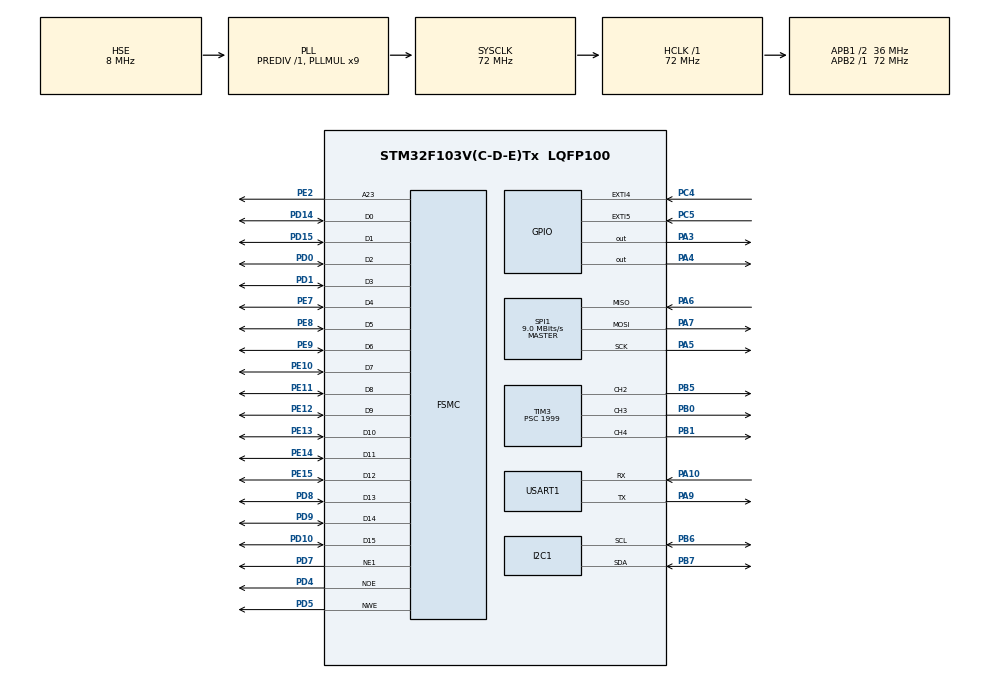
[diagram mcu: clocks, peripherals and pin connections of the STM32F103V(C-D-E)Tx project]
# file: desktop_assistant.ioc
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FSMC.DataSetupTime1=15
Mcu.Family=STM32F1
Mcu.Name=STM32F103V(C-D-E)Tx
Mcu.Package=LQFP100
NVIC.EXTI4_IRQn=true\:5\:0\:true\:false\:true\:true\:true\:true
NVIC.EXTI9_5_IRQn=true\:5\:0\:true\:false\:true\:true\:true\:true
NVIC.PriorityGroup=NVIC_PRIORITYGROUP_4
NVIC.USART1_IRQn=true\:3\:0\:true\:false\:true\:true\:true\:true
OSC_IN.Mode=HSE-External-Oscillator
OSC_IN.Signal=RCC_OSC_IN
OSC_OUT.Mode=HSE-External-Oscillator
OSC_OUT.Signal=RCC_OSC_OUT
PA10.Mode=Asynchronous
PA10.Signal=USART1_RX
PA13.Mode=Serial_Wire
PA13.Signal=SYS_JTMS-SWDIO
PA14.Mode=Serial_Wire
PA14.Signal=SYS_JTCK-SWCLK
PA3.Signal=GPIO_Output
PA4.Signal=GPIO_Output
PA5.Mode=Full_Duplex_Master
PA5.Signal=SPI1_SCK
PA6.Mode=Full_Duplex_Master
PA6.Signal=SPI1_MISO
PA7.Mode=Full_Duplex_Master
PA7.Signal=SPI1_MOSI
PA9.Mode=Asynchronous
PA9.Signal=USART1_TX
PB0.Signal=S_TIM3_CH3
PB1.Signal=S_TIM3_CH4
PB10.Signal=I2C2_SCL
PB11.Signal=I2C2_SDA
PB5.Signal=S_TIM3_CH2
PB6.Mode=I2C
PB6.Signal=I2C1_SCL
PB7.Mode=I2C
PB7.Signal=I2C1_SDA
PC4.GPIO_PuPd=GPIO_PULLDOWN
PC4.Signal=GPXTI4
PC5.GPIO_PuPd=GPIO_PULLDOWN
PC5.Signal=GPXTI5
PD0.Mode=16b-d1
PD0.Signal=FSMC_D2
PD1.Mode=16b-d1
PD1.Signal=FSMC_D3
PD10.Mode=16b-d1
PD10.Signal=FSMC_D15
PD14.Mode=16b-d1
PD14.Signal=FSMC_D0
PD15.Mode=16b-d1
PD15.Signal=FSMC_D1
PD4.Mode=Lcd1
PD4.Signal=FSMC_NOE
PD5.Mode=Lcd1
PD5.Signal=FSMC_NWE
PD7.Mode=NorPsramChipSelect1_1
PD7.Signal=FSMC_NE1
PD8.Mode=16b-d1
PD8.Signal=FSMC_D13
PD9.Mode=16b-d1
PD9.Signal=FSMC_D14
PE10.Mode=16b-d1
PE10.Signal=FSMC_D7
PE11.Mode=16b-d1
PE11.Signal=FSMC_D8
PE12.Mode=16b-d1
PE12.Signal=FSMC_D9
PE13.Mode=16b-d1
PE13.Signal=FSMC_D10
PE14.Mode=16b-d1
PE14.Signal=FSMC_D11
PE15.Mode=16b-d1
PE15.Signal=FSMC_D12
PE2.Mode=A23_1
PE2.Signal=FSMC_A23
PE7.Mode=16b-d1
PE7.Signal=FSMC_D4
PE8.Mode=16b-d1
PE8.Signal=FSMC_D5
PE9.Mode=16b-d1
PE9.Signal=FSMC_D6
ProjectManager.HeapSize=0x200
ProjectManager.StackSize=0x400
ProjectManager.TargetToolchain=MDK-ARM V5.27
RCC.AHBFreq_Value=72000000
RCC.APB1CLKDivider=RCC_HCLK_DIV2
RCC.APB1Freq_Value=36000000
RCC.APB1TimFreq_Value=72000000
RCC.APB2Freq_Value=72000000
RCC.APB2TimFreq_Value=72000000
RCC.HCLKFreq_Value=72000000
RCC.PLLMUL=RCC_PLL_MUL9
RCC.PLLSourceVirtual=RCC_PLLSOURCE_HSE
RCC.SYSCLKFreq_VALUE=72000000
RCC.SYSCLKSource=RCC_SYSCLKSOURCE_PLLCLK
RCC.USBFreq_Value=72000000
SH.S_TIM3_CH2.0=TIM3_CH2,PWM Generation2 CH2
SH.S_TIM3_CH3.0=TIM3_CH3,PWM Generation3 CH3
SH.S_TIM3_CH4.0=TIM3_CH4,PWM Generation4 CH4
SPI1.BaudRatePrescaler=SPI_BAUDRATEPRESCALER_8
SPI1.CRCCalculation=SPI_CRCCALCULATION_DISABLE
SPI1.CalculateBaudRate=9.0 MBits/s
SPI1.Direction=SPI_DIRECTION_2LINES
SPI1.Mode=SPI_MODE_MASTER
SPI1.VirtualType=VM_MASTER
TIM3.Channel-PWM\ Generation2\ CH2=TIM_CHANNEL_2
TIM3.Channel-PWM\ Generation3\ CH3=TIM_CHANNEL_3
TIM3.Channel-PWM\ Generation4\ CH4=TIM_CHANNEL_4
TIM3.Prescaler=1999
USART1.VirtualMode=VM_ASYNC
board=custom

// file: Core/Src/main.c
/* USER CODE BEGIN Header */
/**
  ******************************************************************************
  * @file           : main.c
  * @brief          : Main program body
  ******************************************************************************
  * @attention
  *
  * Copyright (c) 2026 STMicroelectronics.
  * All rights reserved.
  *
  * This software is licensed under terms that can be found in the LICENSE file
  * in the root directory of this software component.
  * If no LICENSE file comes with this software, it is provided AS-IS.
  *
  ******************************************************************************
  */
/* USER CODE END Header */
#include "main.h"
#include "i2c.h"
#include "spi.h"
#include "tim.h"
#include "usart.h"
#include "gpio.h"
#include "fsmc.h"

/* USER CODE BEGIN Includes */
#include "ili9341_fsmc.h"
#include "rgb_led.h"
#include "uart_comm.h"
#include "touch_sensor.h"
#include "mpu6050_hal.h"
#include "soft_i2c.h"
#include "rc522_spi.h"
#include "expression_engine.h"
#include "main_fsm.h"
#include <stdio.h>
#include <stdlib.h>
#include <string.h>
/* USER CODE END Includes */

void SystemClock_Config(void);

/* USER CODE BEGIN 0 */

/* PC binary command handler (new protocol) */
static void PcCmdHandler(uint8_t cmd, const uint8_t *payload, uint8_t len) {
    switch (cmd) {
    case UART_CMD_SET_EXPR:
        if (len >= 1 && payload[0] < 8) {
            Expression_Set((Expression)payload[0]);
            UART_Printf("[PC CMD] Set expression: %d\r\n", payload[0]);
        }
        break;

    case UART_CMD_SET_RGB:
        if (len >= 3) {
            RGB_StopEffect();
            RGB_SetColor(payload[0], payload[1], payload[2]);
            UART_Printf("[PC CMD] Set RGB: (%d,%d,%d)\r\n", payload[0], payload[1], payload[2]);
        }
        break;

    case UART_CMD_QUERY:
        /* TODO: Send system status */
        UART_Printf("[PC CMD] Query status\r\n");
        break;

    case UART_CMD_HEARTBEAT:
        if (len >= 1) {
            /* Echo back with ACK */
            uint8_t ack_payload[2] = {UART_CMD_HEARTBEAT, 0x00};
            UART_SendPacket(UART_EVT_ACK, ack_payload, 2);
            UART_Printf("[PC CMD] Heartbeat seq=%d\r\n", payload[0]);
        }
        break;

    default:
        UART_Printf("[PC CMD] Unknown: 0x%02X\r\n", cmd);
        break;
    }
}

/* Text command handler (serial console) */
static void TextCmdHandler(const char *line) {
    if (strncmp(line, "led ", 4) == 0) {
        int r, g, b;
        if (sscanf(line, "led %d %d %d", &r, &g, &b) == 3) {
            RGB_StopEffect();
            RGB_SetColor((uint8_t)r, (uint8_t)g, (uint8_t)b);
            UART_Printf("OK: LED=(%d,%d,%d)\r\n", r, g, b);
        }
    } else if (strcmp(line, "mpu") == 0) {
        MPU6050_Data d;
        if (MPU6050_ReadData(&d)) {
            UART_Printf("ACC: X=%.2f Y=%.2f Z=%.2f g\r\n", d.ax, d.ay, d.az);
            UART_Printf("GYRO: X=%.1f Y=%.1f Z=%.1f deg/s\r\n", d.gx, d.gy, d.gz);
            UART_Printf("POSE: %s\r\n", PoseState_String(MPU6050_DetectPose(&d)));
        } else {
            UART_Printf("MPU6050 not found (SW I2C PA11/PA12)\r\n");
        }
    } else if (strncmp(line, "emo ", 4) == 0) {
        const char *names[] = {"normal","happy","focus","angry","sleep","surprise","sad","love"};
        for (int ei = 0; ei < 8; ei++) {
            if (strstr(line + 4, names[ei])) {
                Expression_Set((Expression)ei);
                UART_Printf("OK: emo=%s\r\n", names[ei]);
                break;
            }
        }
    } else if (strncmp(line, "lcd ", 4) == 0) {
        int r, g, b;
        if (sscanf(line + 4, "%d %d %d", &r, &g, &b) == 3) {
            uint16_t c = ((r>>3)<<11) | ((g>>2)<<5) | (b>>3);
            ILI9341_FillScreen(c);
            UART_Printf("LCD fill: RGB(%d,%d,%d)\r\n", r, g, b);
        }
    } else if (strcmp(line, "calib") == 0) {
        ILI9341_DrawTestPattern();
        UART_Printf("Test pattern: 8 colors + 16-bit walk\r\n");
        UART_Printf("Top: BLK RED GRN BLU YEL CYN MAG WHT\r\n");
        UART_Printf("Bot: 4x4 bit walk (bit0-15, left-right, top-down)\r\n");
        FSM_SetPoseEnable(0);
        UART_Printf("MPU polling OFF\r\n");
    } else if (strcmp(line, "mpuon") == 0) {
        FSM_SetPoseEnable(1);
        UART_Printf("MPU polling ON\r\n");
    } else if (strcmp(line, "nfcoff") == 0) {
        FSM_SetNfcEnable(0);
        UART_Printf("NFC polling OFF (manual test mode)\r\n");
    } else if (strcmp(line, "nfcon") == 0) {
        FSM_SetNfcEnable(1);
        UART_Printf("NFC polling ON\r\n");
    } else if (strcmp(line, "state") == 0) {
        UART_Printf("STATE: %s\r\n", FSM_StateString(FSM_GetState()));
    } else if (strcmp(line, "nfc") == 0) {
        uint8_t uid[10];
        UART_Printf("=== NFC Diagnostic ===\r\n");

        /* Step 1: Check register health */
        uint8_t mode = RC522_ReadReg(0x11);  /* ModeReg */
        uint8_t txctl = RC522_ReadReg(0x14); /* TxControlReg */
        UART_Printf("1. Chip state: Mode=0x%02X TxCtl=0x%02X ", mode, txctl);
        if (mode == 0x3D && txctl == 0x83) {
            UART_Printf("OK\r\n");
        } else {
            UART_Printf("BAD (expect 0x3D/0x83)\r\n");
        }

        /* Step 2: Check card presence */
        UART_Printf("2. CheckCard: ");
        if (RC522_CheckCard()) {
            UART_Printf("DETECTED\r\n");

            /* Step 3: Try GetCardUID */
            UART_Printf("3. GetCardUID: ");
            uint8_t len = RC522_GetCardUID(uid);
            if (len == 4) {
                UART_Printf("SUCCESS - UID: %02X%02X%02X%02X\r\n",
                            uid[0], uid[1], uid[2], uid[3]);
            } else if (len == 0) {
                UART_Printf("FAIL at REQA\r\n");
                /* Show RF config */
                uint8_t rfcfg = RC522_ReadReg(0x26);
                uint8_t rxsel = RC522_ReadReg(0x17);
                UART_Printf("   RFCfg=0x%02X RxSel=0x%02X (try 'nfcboost')\r\n", rfcfg, rxsel);
            } else if (len == 1) {
                UART_Printf("FAIL at Anticollision\r\n");
            } else if (len == 2) {
                UART_Printf("FAIL: wrong length\r\n");
            } else if (len == 3) {
                UART_Printf("FAIL: BCC error\r\n");
            } else {
                UART_Printf("FAIL at Select\r\n");
            }
        } else {
            UART_Printf("NO CARD (move closer, < 3cm)\r\n");
        }
    } else if (strcmp(line, "nfcreset") == 0) {
        /* Hard reset RC522: toggling RST pin + soft reset */
        HAL_GPIO_WritePin(GPIOA, GPIO_PIN_3, GPIO_PIN_RESET);
        HAL_Delay(10);
        HAL_GPIO_WritePin(GPIOA, GPIO_PIN_3, GPIO_PIN_SET);
        HAL_Delay(50);
        /* Soft reset */
        RC522_WriteReg(0x01, 0x0F);  /* CommandReg = SoftReset */
        HAL_Delay(50);
        uint8_t v = RC522_ReadReg(0x37);
        UART_Printf("RC522 after reset: Ver=0x%02X  CommReg=0x%02X  ComIrq=0x%02X\r\n",
            v, RC522_ReadReg(0x01), RC522_ReadReg(0x04));
    } else if (strcmp(line, "nfcdbg") == 0) {
        /* Warm up SPI link — first byte after idle can glitch */
        RC522_Wakeup();
        /* First, check if SPI is alive by reading version */
        uint8_t v = RC522_ReadReg(0x37);
        UART_Printf("RC522 Ver: 0x%02X\r\n", v);
        /* Dump key RC522 registers */
        UART_Printf("  ComIrq=0x%02X  ComIEn=0x%02X  DivIrq=0x%02X\r\n",
            RC522_ReadReg(0x04), RC522_ReadReg(0x02), RC522_ReadReg(0x05));
        UART_Printf("  Error=0x%02X   FIFOLevel=0x%02X  Coll=0x%02X\r\n",
            RC522_ReadReg(0x06), RC522_ReadReg(0x0A), RC522_ReadReg(0x0E));
        UART_Printf("  BitFraming=0x%02X  TxControl=0x%02X  Mode=0x%02X\r\n",
            RC522_ReadReg(0x0D), RC522_ReadReg(0x14), RC522_ReadReg(0x11));
        UART_Printf("  CommReg=0x%02X  Status2=0x%02X\r\n",
            RC522_ReadReg(0x01), RC522_ReadReg(0x08));
    } else if (strcmp(line, "nfcboost") == 0) {
        /* Boost RF power for weak cards/antennas */
        UART_Printf("Boosting RF power...\r\n");
        RC522_WriteReg(0x26, 0x4F);  /* RFCfgReg: 25dB (was 18dB) */
        UART_Printf("RFCfg=0x%02X (was 0x48)\r\n", RC522_ReadReg(0x26));
        UART_Printf("Try 'nfc' again. If chip resets, power supply too weak.\r\n");
    } else if (strcmp(line, "nfclow") == 0) {
        /* Lower RF power to prevent reset on weak power */
        UART_Printf("Lowering RF power...\r\n");
        RC522_WriteReg(0x26, 0x40);  /* RFCfgReg: 13dB (lowest stable) */
        UART_Printf("RFCfg=0x%02X (was 0x48)\r\n", RC522_ReadReg(0x26));
        UART_Printf("Try 'nfc' again. Should be more stable.\r\n");
    } else if (strcmp(line, "nfcraw") == 0) {
        /* Raw RF test - check if we can receive ATQA */
        UART_Printf("=== Raw REQA Test ===\r\n");
        uint8_t cmd = 0x26;  /* REQA */
        uint8_t back[16];
        uint8_t backLen = 0;

        /* Manual transceive with diagnostics */
        RC522_WriteReg(0x0D, 0x07);  /* BitFraming: 7 bits in last byte */
        RC522_WriteReg(0x01, 0x00);  /* Idle */
        RC522_WriteReg(0x04, 0x7F);  /* Clear IRQ */
        RC522_WriteReg(0x0A, 0x80);  /* Flush FIFO */
        RC522_WriteReg(0x09, cmd);   /* Write REQA to FIFO */
        RC522_WriteReg(0x01, 0x0C);  /* Transceive */
        RC522_WriteReg(0x0D, 0x87);  /* StartSend */

        HAL_Delay(10);  /* Wait for response */

        uint8_t irq = RC522_ReadReg(0x04);    /* ComIrqReg */
        uint8_t err = RC522_ReadReg(0x06);    /* ErrorReg */
        uint8_t fifo = RC522_ReadReg(0x0A);   /* FIFOLevel */

        UART_Printf("IRQ=0x%02X Err=0x%02X FIFO=%d bytes\r\n", irq, err, fifo);

        if (fifo > 0) {
            UART_Printf("RX Data: ");
            for (int i = 0; i < fifo && i < 16; i++) {
                UART_Printf("%02X ", RC522_ReadReg(0x09));
            }
            UART_Printf("\r\n");
        }

        RC522_WriteReg(0x01, 0x00);  /* Back to idle */
    } else if (strcmp(line, "uartstats") == 0) {
        /* Display UART protocol error statistics */
        UART_ErrorStats* stats = UART_GetErrorStats();
        UART_Printf("=== UART Error Statistics ===\r\n");
        UART_Printf("Invalid LEN:  %lu\r\n", stats->invalid_len);
        UART_Printf("CRC fail:     %lu\r\n", stats->crc_fail);
        UART_Printf("END byte err: %lu\r\n", stats->end_byte_err);
        UART_Printf("Timeout:      %lu\r\n", stats->timeout);
    } else if (strcmp(line, "help") == 0) {
        UART_Printf("Commands: led R G B, mpu, mpuon, mpuoff, nfc, nfcoff, nfcon, nfcboost, nfclow, nfcraw, nfcdbg, nfcreset, uartstats, state, help\r\n");
    } else if (strlen(line) > 0) {
        UART_Printf("? '%s'\r\n", line);
    }
}
/* USER CODE END 0 */

int main(void)
{

  /* MCU Configuration--------------------------------------------------------*/

  /* Reset of all peripherals, Initializes the Flash interface and the Systick. */
  HAL_Init();

  /* Configure the system clock */
  SystemClock_Config();

  /* USER CODE BEGIN SysInit */
  __HAL_AFIO_REMAP_TIM3_PARTIAL();
  /* USER CODE END SysInit */

  /* Initialize all configured peripherals */
  MX_GPIO_Init();
  MX_FSMC_Init();
  MX_I2C1_Init();
  MX_SPI1_Init();
  MX_USART1_UART_Init();
  MX_TIM3_Init();
  /* USER CODE BEGIN 2 */
  ILI9341_Init();
  RGB_Init();
  UART_Init();
  UART_RegisterCallback(PcCmdHandler);      /* Binary protocol handler */
  UART_RegisterTextCallback(TextCmdHandler); /* Text command handler */
  Touch_Init();
  MPU6050_Init();
  if (RC522_Init()) {
    uint8_t ver = RC522_GetVersion();
    UART_Printf("RC522 OK: SPI 2MHz, Ver=0x%02X\r\n", ver);
  } else {
    UART_Printf("RC522 FAIL: SPI unreliable or chip absent\r\n");
  }
  FSM_Init();

  /* Boot blink: 3 quick blue flashes to confirm init complete */
  for (int i = 0; i < 3; i++) {
    __HAL_TIM_SET_COMPARE(&htim3, TIM_CHANNEL_4, 255);
    HAL_Delay(100);
    __HAL_TIM_SET_COMPARE(&htim3, TIM_CHANNEL_4, 0);
    HAL_Delay(100);
  }

  UART_Printf("Desktop Assistant Ready\r\n");
  /* USER CODE END 2 */

  /* Infinite loop */
  while (1)
  {

    /* USER CODE BEGIN 3 */
    FSM_Tick();
  }
  /* USER CODE END 3 */
}

void SystemClock_Config(void)
{
  RCC_OscInitTypeDef RCC_OscInitStruct = {0};
  RCC_ClkInitTypeDef RCC_ClkInitStruct = {0};

  /** Initializes the RCC Oscillators according to the specified parameters
  * in the RCC_OscInitTypeDef structure.
  */
  RCC_OscInitStruct.OscillatorType = RCC_OSCILLATORTYPE_HSE;
  RCC_OscInitStruct.HSEState = RCC_HSE_ON;
  RCC_OscInitStruct.HSEPredivValue = RCC_HSE_PREDIV_DIV1;
  RCC_OscInitStruct.HSIState = RCC_HSI_ON;
  RCC_OscInitStruct.PLL.PLLState = RCC_PLL_ON;
  RCC_OscInitStruct.PLL.PLLSource = RCC_PLLSOURCE_HSE;
  RCC_OscInitStruct.PLL.PLLMUL = RCC_PLL_MUL9;
  if (HAL_RCC_OscConfig(&RCC_OscInitStruct) != HAL_OK)
  {
    Error_Handler();
  }

  /** Initializes the CPU, AHB and APB buses clocks
  */
  RCC_ClkInitStruct.ClockType = RCC_CLOCKTYPE_HCLK|RCC_CLOCKTYPE_SYSCLK
                              |RCC_CLOCKTYPE_PCLK1|RCC_CLOCKTYPE_PCLK2;
  RCC_ClkInitStruct.SYSCLKSource = RCC_SYSCLKSOURCE_PLLCLK;
  RCC_ClkInitStruct.AHBCLKDivider = RCC_SYSCLK_DIV1;
  RCC_ClkInitStruct.APB1CLKDivider = RCC_HCLK_DIV2;
  RCC_ClkInitStruct.APB2CLKDivider = RCC_HCLK_DIV1;

  if (HAL_RCC_ClockConfig(&RCC_ClkInitStruct, FLASH_LATENCY_2) != HAL_OK)
  {
    Error_Handler();
  }
}

/* USER CODE BEGIN 4 */

void HAL_GPIO_EXTI_Callback(uint16_t GPIO_Pin)
{
    if (GPIO_Pin == GPIO_PIN_4) {
        Touch_IRQ_Left();
    } else if (GPIO_Pin == GPIO_PIN_5) {
        Touch_IRQ_Right();
    }
}

#ifdef __GNUC__
int __io_putchar(int ch)
#else
int fputc(int ch, FILE *f)
#endif
{
    HAL_UART_Transmit(&huart1, (uint8_t *)&ch, 1, 10);
    return ch;
}
/* USER CODE END 4 */

void Error_Handler(void)
{
  __disable_irq();
  while (1)
  {
  }
}
